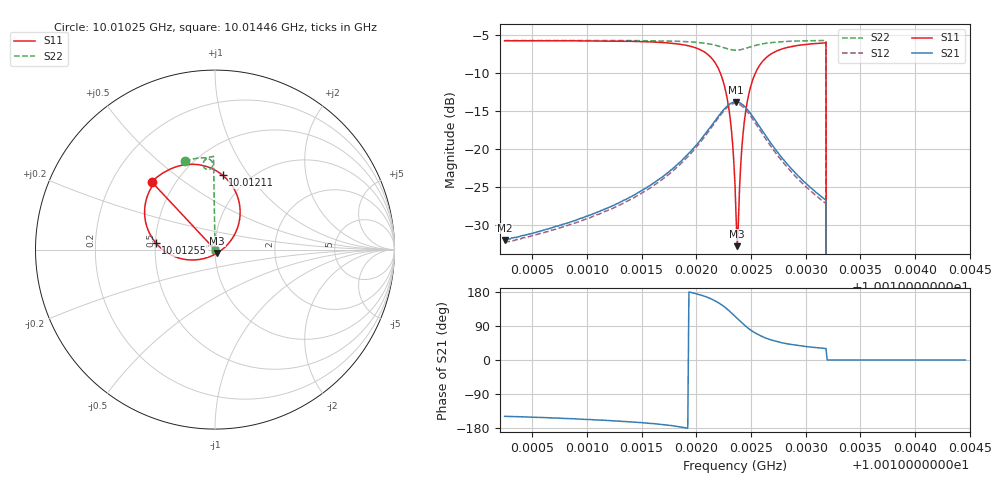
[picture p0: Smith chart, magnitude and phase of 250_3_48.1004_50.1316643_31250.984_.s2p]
#  HZ  S  RI  R  50.00
! Rohde & Schwarz Vector Network Analyzer
! Rohde-Schwarz,ZNB20-2Port,1311601062101988,3.16
! Created: UTC 12/23/2023, 3:59:40 AM
! freq[Hz]  re:S11  im:S11  re:S21  im:S21  re:S12  im:S12  re:S22  im:S22
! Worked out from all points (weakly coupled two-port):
!   401 points, 10.01025 GHz to 10.01446 GHz, reference 50 ohm
!   highest |S21| = -13.79 dB at 10.01236 GHz (marker M1); lowest = -32.0 dB at 10.01025 GHz (marker M2)
!   lowest |S11| = -32.8 dB at 10.01237 GHz (marker M3), VSWR 1.05, Z = 51.2 - j1.95 ohm
!   |S11| at or under -10 dB: 10.01222 GHz to 10.01254 GHz (320.3 kHz wide, 0.0032 % of centre); 10.01319 GHz to end of sweep
!   |S22| runs from - to -5.7 dB; largest |S21 - S12| = 0.0098
!   S11 on the Smith chart (normalised r, x): 10.01025 GHz: 0.37, +0.38; 10.01211 GHz: 0.76, +0.76; 10.01255 GHz: 0.50, +0.04; 10.01446 GHz: 1.00, +0.00
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1.0010248e10  -0.3523 0.3784  -0.0214 -0.013  -0.02 -0.0138  -0.1668 0.4917
1.0010954e10  -0.296 0.423  -0.032 -0.014  -0.0301 -0.0152  -0.1203 0.5052
1.0011659e10  -0.1852 0.4698  -0.0619 -0.0117  -0.0589 -0.0144  -0.0664 0.512
1.0011954e10  -0.0701 0.469  -0.0971 0.00327  -0.094 -0.00188  -0.0372 0.5065
1.0012112e10  0.0434 0.4139  -0.129 0.036  -0.1272 0.028  -0.0192 0.4932
1.0012206e10  0.1191 0.3118  -0.1438 0.082  -0.1448 0.0724  -0.0125 0.4762
1.001228e10  0.1376 0.1713  -0.1349 0.135  -0.138 0.1265  -0.0169 0.4586
1.0012322e10  0.1053 0.0766  -0.1124 0.1668  -0.1173 0.1583  -0.0254 0.4502
1.0012354e10  0.0564 0.0143  -0.0875 0.1846  -0.0922 0.1774  -0.0344 0.4468
1.0012364e10  0.0343 -0.00394  -0.0775 0.1891  -0.0823 0.1821  -0.0378 0.4464
1.0012375e10  0.0127 -0.019  -0.0682 0.1922  -0.0729 0.1854  -0.041 0.4464
1.0012385e10  -0.0114 -0.032  -0.0583 0.1945  -0.0628 0.1879  -0.0443 0.4468
1.0012417e10  -0.088 -0.0551  -0.0276 0.1955  -0.0329 0.1891  -0.0531 0.4504
1.0012448e10  -0.1615 -0.0556  0.000151 0.1884  -0.00528 0.1825  -0.0598 0.4562
1.001249e10  -0.2462 -0.0293  0.0295 0.1706  0.0229 0.1654  -0.065 0.4661
1.0012554e10  -0.3296 0.0369  0.0536 0.139  0.0476 0.1347  -0.066 0.4801
1.0012722e10  -0.392 0.1968  0.0639 0.0761  0.0582 0.075  -0.0517 0.5034
1.0013059e10  -0.3585 0.3397  0.0451 0.0303  0.0416 0.0307  -0.0189 0.5178
1.0013164e10  -0.3446 0.3622  0.0405 0.0238  0.0373 0.0247  -0.00996 0.5192
1.0013217e10  0 0  0 0  0 0  0 0
1.0013764e10  0 0  0 0  0 0  0 0
1.0014459e10  0 0  0 0  0 0  0 0
